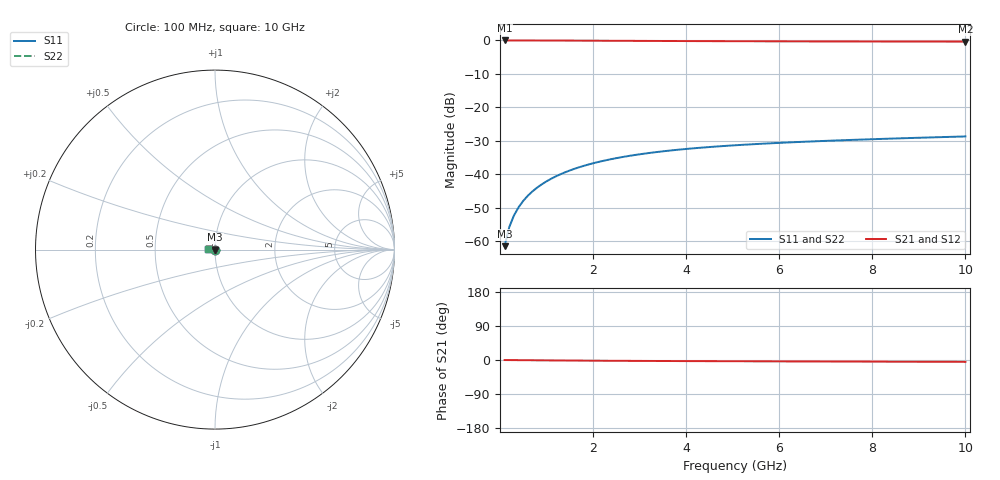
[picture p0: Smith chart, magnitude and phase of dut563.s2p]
! Touchstone file exported from HFSS 2024.1.0
!  File:  C:/UserFiles/LocalFiles/RDL_TSV_Batchsim/temp_TSV1_563_1779707534.aedt
!  Generated:  07:17:46 PM May 25, 2026
!  Design:  TSV1
!  Project:  temp_TSV1_563_1779707534
!  Setup:  Setup1
!  Solution:  Sweep
! Variables:
!  dtsv = 6.91um
!  hbump = 3um
!  htsv = 76.19um
!  lrdl = 252.1521522um
!  p = 40
!  p1 = 42.02um
!  t = 500um
!  trdl = 3um
!  wrdl = 24.89489489um
# GHz S MA R 50.000000
! Terminal data exported
! Port[1] = TSV22_T1
! Port[2] = TSV22_T2
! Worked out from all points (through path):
!   100 points, 100 MHz to 10 GHz, reference 50 ohm
!   highest |S21| = 0.00 dB at 100 MHz (marker M1); lowest = -0.3 dB at 10 GHz (marker M2)
!   lowest |S11| = -61.5 dB at 100 MHz (marker M3), VSWR 1.00, Z = 50 - j0.0801 ohm
!   |S11| at or under -10 dB: start of sweep to end of sweep
!   |S22| runs from -61.5 to -28.7 dB; largest |S21 - S12| = 5e-15
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0.1  0.0008443 -71.4  0.9997 -0.1  0.9997 -0.1  0.0008443 -71.4
! Gamma 0 0 0 0
! Port Impedance 50 0 50 0
0.2  0.001629 -82.9  0.9996 -0.2  0.9996 -0.2  0.001629 -82.9
0.3  0.002424 -88.1  0.9995 -0.3  0.9995 -0.3  0.002424 -88.1
0.4  0.003219 -91.6  0.9993 -0.4  0.9993 -0.4  0.003219 -91.6
0.5  0.004009 -94.4  0.9991 -0.5  0.9991 -0.5  0.004009 -94.4
0.6  0.004794 -96.8  0.9988 -0.6  0.9988 -0.6  0.004794 -96.8
0.7  0.005571 -99.0  0.9985 -0.7  0.9985 -0.7  0.005571 -99.0
0.8  0.00634 -101.0  0.9981 -0.8  0.9981 -0.8  0.00634 -101.0
0.9  0.007099 -103.0  0.9977 -0.9  0.9977 -0.9  0.007099 -103.0
1.1  0.008586 -106.7  0.9969 -1.1  0.9969 -1.1  0.008586 -106.7
1.4  0.01072 -112.0  0.9953 -1.3  0.9953 -1.3  0.01072 -112.0
1.6  0.01208 -115.3  0.9941 -1.5  0.9941 -1.5  0.01208 -115.3
1.8  0.01338 -118.5  0.9929 -1.6  0.9929 -1.6  0.01338 -118.5
2.1  0.01521 -123.1  0.991 -1.9  0.991 -1.9  0.01521 -123.1
2.5  0.01744 -128.8  0.9883 -2.1  0.9883 -2.1  0.01744 -128.8
2.9  0.01944 -134.1  0.9856 -2.3  0.9856 -2.3  0.01944 -134.1
3.4  0.02165 -140.2  0.9824 -2.6  0.9824 -2.6  0.02165 -140.2
4.2  0.0246 -149.0  0.9779 -3.0  0.9779 -3.0  0.0246 -149.0
5.1  0.02728 -157.5  0.9735 -3.3  0.9735 -3.3  0.02728 -157.5
6.7  0.031 -170.1  0.9678 -3.9  0.9678 -3.9  0.031 -170.1
8.4  0.03415 179.0  0.9635 -4.4  0.9635 -4.4  0.03415 179.0
10  0.03678 170.5  0.9607 -4.9  0.9607 -4.9  0.03678 170.5
